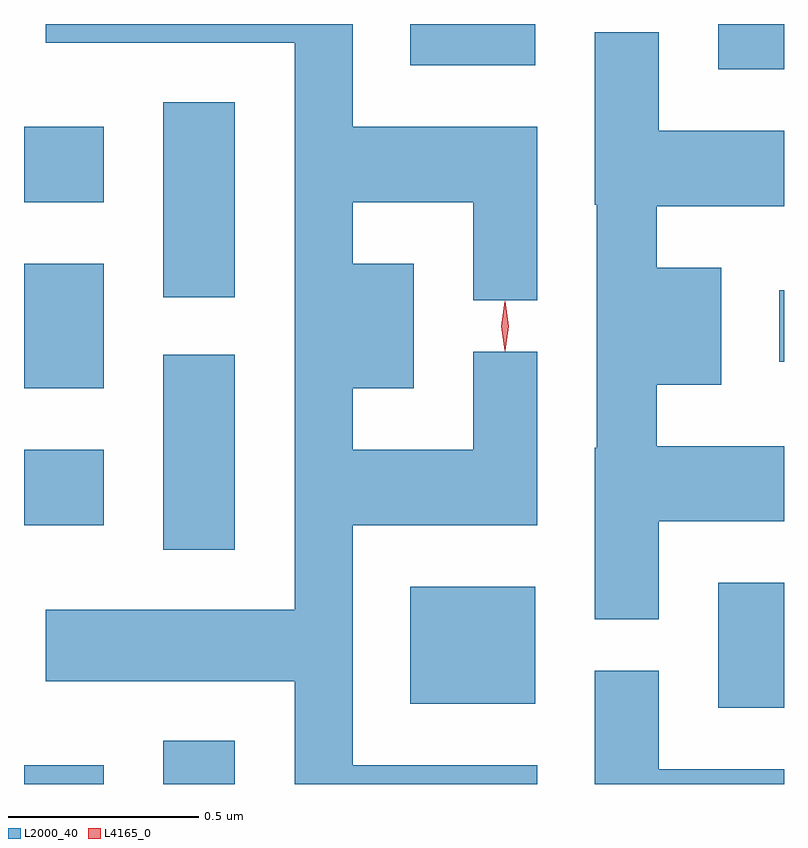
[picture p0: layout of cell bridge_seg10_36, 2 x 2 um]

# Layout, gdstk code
import gdstk
lib = gdstk.Library(unit=1e-6, precision=1e-09)
def R(c, l, rs):  # rectangles x0, y0, x1, y1
    for r in rs: c.add(gdstk.rectangle(r[:2], r[2:], *l))
def P(c, l, *ps):  # polygons
    for p in ps: c.add(gdstk.Polygon(p, *l))
L2000_40 = (2000, 40)
L4165_0 = (4165, 0)

bridge_seg10_36 = lib.new_cell('bridge_seg10_36')
R(bridge_seg10_36, L2000_40, [(1748.869,2157.885,1749.079,2157.934), (1749.236,2157.885,1749.424,2157.999), (1750.696,2158.086,1750.869,2158.414), (1749.886,2158.096,1750.214,2158.404), (1749.236,2158.501,1749.424,2159.014), (1748.869,2158.566,1749.079,2158.764), (1748.869,2158.926,1749.079,2159.254), (1750.856,2158.996,1750.869,2159.184), (1749.236,2159.166,1749.424,2159.679), (1748.869,2159.416,1749.079,2159.614), (1750.696,2159.766,1750.869,2159.885), (1749.886,2159.776,1750.214,2159.885)])
P(bridge_seg10_36, L2000_40, [(1750.219,2157.934),(1749.734,2157.934),(1749.734,2158.566),(1750.219,2158.566),(1750.219,2159.023),(1750.051,2159.023),(1750.051,2158.764),(1749.734,2158.764),(1749.734,2158.926),(1749.894,2158.926),(1749.894,2159.254),(1749.734,2159.254),(1749.734,2159.416),(1750.051,2159.416),(1750.051,2159.158),(1750.219,2159.158),(1750.219,2159.614),(1749.734,2159.614),(1749.734,2159.885),(1748.926,2159.885),(1748.926,2159.836),(1749.581,2159.836),(1749.581,2158.344),(1748.926,2158.344),(1748.926,2158.156),(1749.581,2158.156),(1749.581,2157.885),(1750.219,2157.885)],
  [(1750.539,2158.576),(1750.869,2158.576),(1750.869,2158.774),(1750.534,2158.774),(1750.534,2158.936),(1750.704,2158.936),(1750.704,2159.244),(1750.534,2159.244),(1750.534,2159.406),(1750.869,2159.406),(1750.869,2159.604),(1750.539,2159.604),(1750.539,2159.863),(1750.371,2159.863),(1750.371,2159.41),(1750.376,2159.41),(1750.376,2158.77),(1750.371,2158.77),(1750.371,2158.318),(1750.539,2158.318)],
  [(1750.869,2157.924),(1750.539,2157.924),(1750.539,2158.183),(1750.371,2158.183),(1750.371,2157.885),(1750.869,2157.885)])
P(bridge_seg10_36, L4165_0, [(1750.135,2159.024),(1750.134,2159.025),(1750.125,2159.09),(1750.134,2159.155),(1750.135,2159.156),(1750.136,2159.155),(1750.145,2159.09),(1750.136,2159.025)])

lib.write_gds('bridge_seg10_36.gds')
